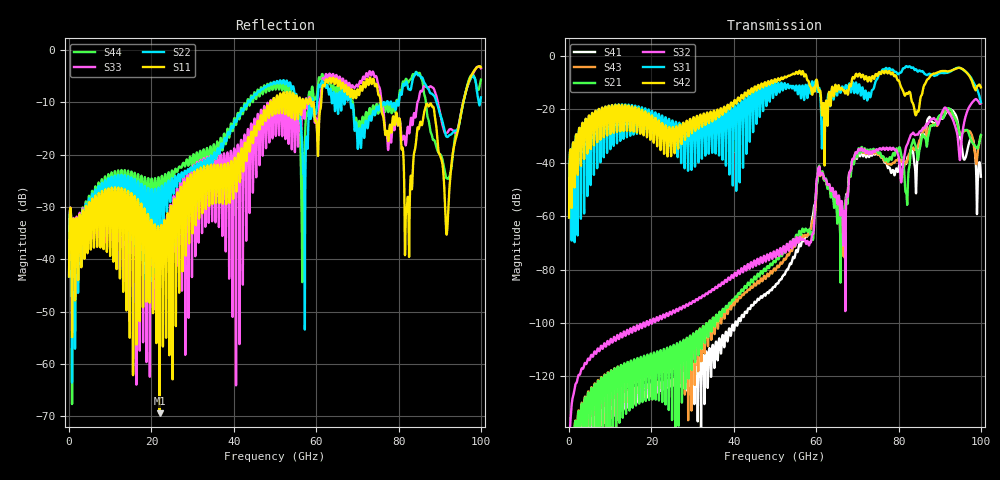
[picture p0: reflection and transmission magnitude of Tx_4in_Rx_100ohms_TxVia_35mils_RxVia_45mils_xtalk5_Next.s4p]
! Info: Touchstone file created by Circ.  Input file=Tx_4in_Rx_100ohms_TxVia_35mils_RxVia_45mils.circ
# Hz S RI R 50
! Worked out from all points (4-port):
!   10000 points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, 10 MHz to 100 GHz, reference 50 ohm
!   strongest paths, dB at 10 MHz, 25.01 GHz, 50.01 GHz, 75.01 GHz, 100 GHz:
!     S42: -60.5, -28.6, -8.7, -7.1, -11.7
!     S31: -60.5, -24.5, -10.2, -7.9, -17.3
!     S32: -162.1, -96.3, -74.8, -35.4, -17.7
!     S21: -175.4, -136.3, -77.2, -36.2, -29.5
!     S43: -175.3, -117.4, -80.2, -36.8, -29.8
!     S41: -180.6, -120.7, -86.5, -37.0, -45.2
!   lowest |S11| = -69.4 dB at 21.99 GHz (marker M1), VSWR 1.00, Z = 50 - j0.0338 ohm
!   |S11| at or under -10 dB: start of sweep to 48.85 GHz; 59.35 GHz to 61.23 GHz (1.88 GHz wide, 3.12 % of centre); 75.67 GHz to 95.72 GHz (20.05 GHz wide, 23.4 % of centre)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
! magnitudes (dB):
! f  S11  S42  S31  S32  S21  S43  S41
! 10 MHz  -43.3  -60.5  -60.5  -162.1  -175.4  -175.3  -180.6
! 21.99 GHz  -69.4  -26.6  -24.6  -97.5  -114.4  -114.1  -124.5
! 52.79 GHz  -8.2  -8.0  -11.8  -70.9  -71.9  -75.2  -80.2
! 56.69 GHz  -9.4  -5.7  -11.0  -68.5  -64.6  -67.1  -68.3
! 62.94 GHz  -6.1  -16.8  -14.3  -48.3  -49.0  -48.9  -48.9
! 92.26 GHz  -27.7  -5.7  -6.1  -21.4  -19.6  -21.1  -20.0
! 100 GHz  -3.3  -11.7  -17.3  -17.7  -29.5  -29.8  -45.2
